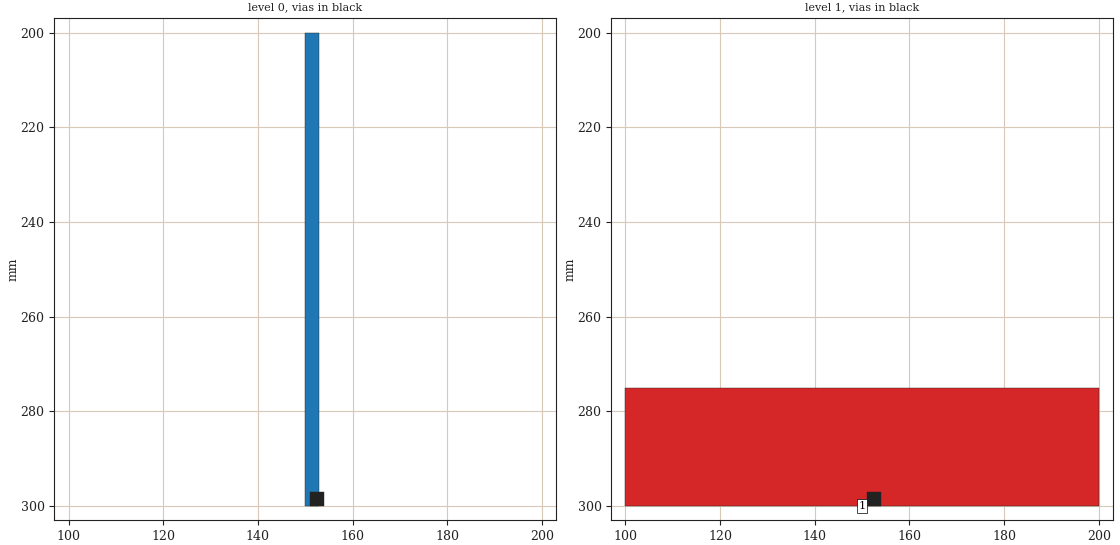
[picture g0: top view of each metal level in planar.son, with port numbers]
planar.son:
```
FTYP SONPROJ 3 ! Sonnet Project File
VER 11.54
HEADER
LIC Sonn.1.12345
DAT 05/15/2016 16:12:51
BUILT_BY_CREATED xgeom 11.54 05/15/2016 15:53:35
BUILT_BY_SAVED xgeom 11.54
MDATE 05/15/2016 16:12:51
HDATE 05/15/2016 16:12:51
END HEADER
DIM
FREQ GHZ
IND NH
LNG MM
ANG DEG
CON /OH
CAP PF
RES OH
END DIM
FREQ
ABS 0.5 2.0 
END FREQ
CONTROL
ABS
OPTIONS  -d 
SPEED 0
CACHE_ABS 1
TARG_ABS 300
Q_ACC N
END CONTROL
GEO
TMET "Free Space" 0 FREESPACE 376.7303136 0 0 0
BMET "Free Space" 0 FREESPACE 376.7303136 0 0 0
BOX 2 300 300 600 600 20 0
      20 1 1 0 0 0 0 "Air"
      1.6 4.2 1 0.02 0 0 0 "FR4"
      2 1 1 0 0 0 0 "Air"
POR1 STD
POLY 1011 1
2
1 50 0 0 0 150 300.0000008 
NUM 3
0 5 -1 N 1005 1 1 100 100 0 0 0 Y
150 199.9999947
153 199.9999947
153 299.9999947
150 299.9999947
150 199.9999947
END
VIA POLYGON
0 5 -1 N 1027 1 1 100 100 0 0 0 Y
TOLEVEL 1
150.9999988 296.9999867
153.9999988 296.9999867
153.9999988 299.9999867
150.9999988 299.9999867
150.9999988 296.9999867
END
1 5 -1 N 1011 1 1 100 100 0 0 0 Y
100 275.0000008
200 275.0000008
200 300.0000008
100 300.0000008
100 275.0000008
END
END GEO
OPT
MAX 100
VARS
END OPT
VARSWP
END VARSWP
QSG
IMPORT NO
EXTRA_METAL NO
UNITS YES
ALIGN NO
REF NO
VIEW_RES NO
METALS NO
USED YES
END QSG
```
